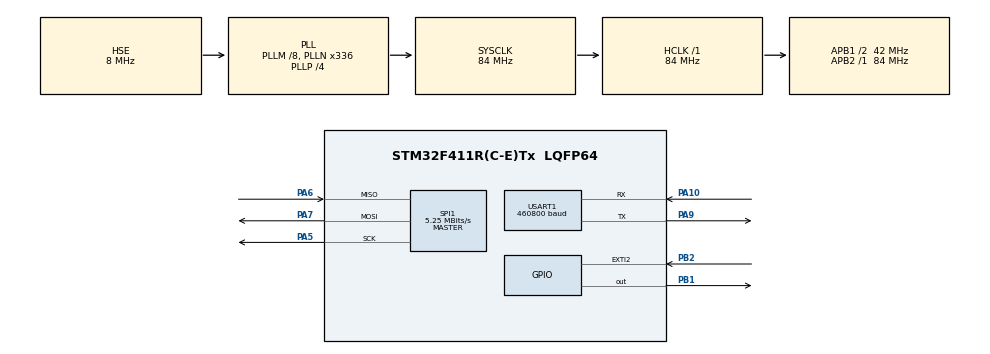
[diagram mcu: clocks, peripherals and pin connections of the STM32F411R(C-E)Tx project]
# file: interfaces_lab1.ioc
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Dma.Request0=USART1_RX
Dma.Request1=USART1_TX
Dma.USART1_RX.0.Direction=DMA_PERIPH_TO_MEMORY
Dma.USART1_RX.0.FIFOMode=DMA_FIFOMODE_DISABLE
Dma.USART1_RX.0.Instance=DMA2_Stream2
Dma.USART1_RX.0.MemDataAlignment=DMA_MDATAALIGN_BYTE
Dma.USART1_RX.0.MemInc=DMA_MINC_ENABLE
Dma.USART1_RX.0.Mode=DMA_NORMAL
Dma.USART1_RX.0.PeriphDataAlignment=DMA_PDATAALIGN_BYTE
Dma.USART1_RX.0.PeriphInc=DMA_PINC_DISABLE
Dma.USART1_RX.0.Priority=DMA_PRIORITY_LOW
Dma.USART1_TX.1.Direction=DMA_MEMORY_TO_PERIPH
Dma.USART1_TX.1.FIFOMode=DMA_FIFOMODE_DISABLE
Dma.USART1_TX.1.Instance=DMA2_Stream7
Dma.USART1_TX.1.MemDataAlignment=DMA_MDATAALIGN_BYTE
Dma.USART1_TX.1.MemInc=DMA_MINC_ENABLE
Dma.USART1_TX.1.Mode=DMA_NORMAL
Dma.USART1_TX.1.PeriphDataAlignment=DMA_PDATAALIGN_BYTE
Dma.USART1_TX.1.PeriphInc=DMA_PINC_DISABLE
Dma.USART1_TX.1.Priority=DMA_PRIORITY_LOW
Mcu.Family=STM32F4
Mcu.Name=STM32F411R(C-E)Tx
Mcu.Package=LQFP64
NVIC.DMA2_Stream2_IRQn=true\:0\:0\:false\:false\:true\:false\:true
NVIC.DMA2_Stream7_IRQn=true\:0\:0\:false\:false\:true\:false\:true
NVIC.EXTI2_IRQn=true\:0\:0\:false\:true\:true\:1\:true\:true
NVIC.PriorityGroup=NVIC_PRIORITYGROUP_0
NVIC.USART1_IRQn=true\:0\:0\:false\:false\:true\:true\:true
PA10.Mode=Asynchronous
PA10.Signal=USART1_RX
PA13.GPIO_Label=TMS
PA13.Mode=Serial_Wire
PA13.Signal=SYS_JTMS-SWDIO
PA14.GPIO_Label=TCK
PA14.Mode=Serial_Wire
PA14.Signal=SYS_JTCK-SWCLK
PA5.Mode=Full_Duplex_Master
PA5.Signal=SPI1_SCK
PA6.Mode=Full_Duplex_Master
PA6.Signal=SPI1_MISO
PA7.Mode=Full_Duplex_Master
PA7.Signal=SPI1_MOSI
PA9.Mode=Asynchronous
PA9.Signal=USART1_TX
PB1.Signal=GPIO_Output
PB2.Signal=GPXTI2
PB3.GPIO_Label=SWO
PB3.Signal=SYS_JTDO-SWO
PH0\ -\ OSC_IN.Mode=HSE-External-Oscillator
PH0\ -\ OSC_IN.Signal=RCC_OSC_IN
PH1\ -\ OSC_OUT.Mode=HSE-External-Oscillator
PH1\ -\ OSC_OUT.Signal=RCC_OSC_OUT
ProjectManager.HeapSize=0x200
ProjectManager.StackSize=0x400
ProjectManager.TargetToolchain=TrueSTUDIO
RCC.48MHZClocksFreq_Value=84000000
RCC.AHBFreq_Value=84000000
RCC.APB1CLKDivider=RCC_HCLK_DIV2
RCC.APB1Freq_Value=42000000
RCC.APB1TimFreq_Value=84000000
RCC.APB2Freq_Value=84000000
RCC.APB2TimFreq_Value=84000000
RCC.CortexFreq_Value=84000000
RCC.DATA_CACHE_ENABLE=0
RCC.FLatency-AdvancedSettings=FLASH_LATENCY_2
RCC.HCLKFreq_Value=84000000
RCC.HSE_VALUE=8000000
RCC.HSI_VALUE=16000000
RCC.LSE_VALUE=32768
RCC.PLLM=8
RCC.PLLN=336
RCC.PLLP=RCC_PLLP_DIV4
RCC.PLLSourceVirtual=RCC_PLLSOURCE_HSE
RCC.SYSCLKFreq_VALUE=84000000
RCC.SYSCLKSource=RCC_SYSCLKSOURCE_PLLCLK
RCC.VCOOutputFreq_Value=336000000
SPI1.BaudRatePrescaler=SPI_BAUDRATEPRESCALER_16
SPI1.CalculateBaudRate=5.25 MBits/s
SPI1.Direction=SPI_DIRECTION_2LINES
SPI1.Mode=SPI_MODE_MASTER
SPI1.VirtualType=VM_MASTER
USART1.BaudRate=460800
USART1.VirtualMode=VM_ASYNC
board=NUCLEO-F411RE

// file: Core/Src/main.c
/* USER CODE BEGIN Header */
/**
  ******************************************************************************
  * @file           : main.c
  * @brief          : Main program body
  ******************************************************************************
  * @attention
  *
  * <h2><center>&copy; Copyright (c) 2021 STMicroelectronics.
  * All rights reserved.</center></h2>
  *
  * This software component is licensed by ST under BSD 3-Clause license,
  * the "License"; You may not use this file except in compliance with the
  * License. You may obtain a copy of the License at:
  *                        opensource.org/licenses/BSD-3-Clause
  *
  ******************************************************************************
  */
/* USER CODE END Header */
#include "main.h"

/* USER CODE BEGIN Includes */
#include "MPU9250.h"
#include <string.h>
#include <math.h>
#include <stdio.h>
#include <stdlib.h>
/* USER CODE END Includes */

/* USER CODE BEGIN PD */
#define RECV_BUFF_SIZE 30
#define NELEMS(x) (sizeof(x) / sizeof((x)[0]))
/* USER CODE END PD */

SPI_HandleTypeDef hspi1;

UART_HandleTypeDef huart1;
DMA_HandleTypeDef hdma_usart1_rx;
DMA_HandleTypeDef hdma_usart1_tx;

/* USER CODE BEGIN PV */
uint8_t irq_mcu9250 = 0;
uint8_t UART_recv_buff[RECV_BUFF_SIZE]; //Array for storing UART receive data

/* Wildcards for checking command */
uint8_t get_accelrule[] = {'G','e','t',' ','A','c','c','e','l'};
uint8_t get_angelrule[] = {'G','e','t',' ','A','n','g','e','l'};
uint8_t get_timerule[] = {'S','e','t',' ','t','i','m','e'};
uint8_t return_err[] = {'I','n','v','a','l','i','d',' ','c','o','m','m','a','n','d','\r','\n'};
uint8_t args_buff[4] = {'\n','\n','\n','\n'}; //Max length of args: 4.
char response[256];
uint8_t flag = 0; //Comand flag
uint16_t checksum_accelrule = NELEMS(get_accelrule);
uint16_t checksum_angelrule = NELEMS(get_angelrule);
uint16_t checksum_timerule = NELEMS(get_timerule);
uint32_t command_delay = 500;
uint8_t Unprocessed_UART_buff_detected = RESET;

int32_t ACCEL_X = 0;
int32_t ACCEL_Y = 0;
int32_t ACCEL_Z = 0;

int32_t ACCEL_XANGLE = 0;
int32_t ACCEL_YANGLE = 0;
int32_t ACCEL_ZANGLE = 0;
/* USER CODE END PV */

void SystemClock_Config(void);
static void MX_GPIO_Init(void);
static void MX_DMA_Init(void);
static void MX_SPI1_Init(void);
static void MX_USART1_UART_Init(void);
static void MX_NVIC_Init(void);
/* USER CODE BEGIN PFP */
void TransmitSensorData();
void PhysVectorsToAccel();
void AccelToAngel();
void ClearBuff(uint8_t* buff);
void GetAccel();
void GetAngel();
void USER_UART_IDLECallback(UART_HandleTypeDef *huart);
/* USER CODE END PFP */

int main(void)
{

  /* MCU Configuration--------------------------------------------------------*/

  /* Reset of all peripherals, Initializes the Flash interface and the Systick. */
  HAL_Init();

  /* Configure the system clock */
  SystemClock_Config();

  /* Initialize all configured peripherals */
  MX_GPIO_Init();
  MX_DMA_Init();
  MX_SPI1_Init();
  MX_USART1_UART_Init();

  /* Initialize interrupts */
  MX_NVIC_Init();
  /* USER CODE BEGIN 2 */
  __HAL_UART_ENABLE_IT(&huart1, UART_IT_IDLE); //Enble IDLE IRQs
  HAL_UART_Receive_DMA(&huart1, UART_recv_buff, RECV_BUFF_SIZE); //Start DMA

  int st;
  st = MPU_begin();
  HAL_Delay(100);
  enableDataReadyInterrupt();
  HAL_Delay(100);
  setSrd(0);

  /* USER CODE END 2 */

  /* Infinite loop */
  while (1)
  {

    /* USER CODE BEGIN 3 */
	  if(irq_mcu9250 == 1) {
		  irq_mcu9250 = 0;

		  ClearBuff(UART_recv_buff);
		  __HAL_UART_ENABLE_IT(&huart1, UART_IT_IDLE);
		  HAL_UART_Receive_DMA(&huart1, UART_recv_buff, RECV_BUFF_SIZE-1);

		  if(flag == 1) {
			//Cycle print Accel
			HAL_Delay(command_delay);
			GetAccel();
		  } else if (flag == 2) {
			//Cycle print Angel
			HAL_Delay(command_delay);
			GetAngel();
		  }
	  }
  }
  /* USER CODE END 3 */
}

void SystemClock_Config(void)
{
  RCC_OscInitTypeDef RCC_OscInitStruct = {0};
  RCC_ClkInitTypeDef RCC_ClkInitStruct = {0};

  /** Configure the main internal regulator output voltage
  */
  __HAL_RCC_PWR_CLK_ENABLE();
  __HAL_PWR_VOLTAGESCALING_CONFIG(PWR_REGULATOR_VOLTAGE_SCALE1);
  /** Initializes the RCC Oscillators according to the specified parameters
  * in the RCC_OscInitTypeDef structure.
  */
  RCC_OscInitStruct.OscillatorType = RCC_OSCILLATORTYPE_HSE;
  RCC_OscInitStruct.HSEState = RCC_HSE_ON;
  RCC_OscInitStruct.PLL.PLLState = RCC_PLL_ON;
  RCC_OscInitStruct.PLL.PLLSource = RCC_PLLSOURCE_HSE;
  RCC_OscInitStruct.PLL.PLLM = 8;
  RCC_OscInitStruct.PLL.PLLN = 336;
  RCC_OscInitStruct.PLL.PLLP = RCC_PLLP_DIV4;
  RCC_OscInitStruct.PLL.PLLQ = 4;
  if (HAL_RCC_OscConfig(&RCC_OscInitStruct) != HAL_OK)
  {
    Error_Handler();
  }
  /** Initializes the CPU, AHB and APB buses clocks
  */
  RCC_ClkInitStruct.ClockType = RCC_CLOCKTYPE_HCLK|RCC_CLOCKTYPE_SYSCLK
                              |RCC_CLOCKTYPE_PCLK1|RCC_CLOCKTYPE_PCLK2;
  RCC_ClkInitStruct.SYSCLKSource = RCC_SYSCLKSOURCE_PLLCLK;
  RCC_ClkInitStruct.AHBCLKDivider = RCC_SYSCLK_DIV1;
  RCC_ClkInitStruct.APB1CLKDivider = RCC_HCLK_DIV2;
  RCC_ClkInitStruct.APB2CLKDivider = RCC_HCLK_DIV1;

  if (HAL_RCC_ClockConfig(&RCC_ClkInitStruct, FLASH_LATENCY_2) != HAL_OK)
  {
    Error_Handler();
  }
}

/**
  * @brief NVIC Configuration.
  * @retval None
  */
static void MX_NVIC_Init(void)
{
  /* EXTI2_IRQn interrupt configuration */
  HAL_NVIC_SetPriority(EXTI2_IRQn, 0, 0);
  HAL_NVIC_EnableIRQ(EXTI2_IRQn);
}

static void MX_SPI1_Init(void)
{

  /* SPI1 parameter configuration*/
  hspi1.Instance = SPI1;
  hspi1.Init.Mode = SPI_MODE_MASTER;
  hspi1.Init.Direction = SPI_DIRECTION_2LINES;
  hspi1.Init.DataSize = SPI_DATASIZE_8BIT;
  hspi1.Init.CLKPolarity = SPI_POLARITY_LOW;
  hspi1.Init.CLKPhase = SPI_PHASE_1EDGE;
  hspi1.Init.NSS = SPI_NSS_SOFT;
  hspi1.Init.BaudRatePrescaler = SPI_BAUDRATEPRESCALER_16;
  hspi1.Init.FirstBit = SPI_FIRSTBIT_MSB;
  hspi1.Init.TIMode = SPI_TIMODE_DISABLE;
  hspi1.Init.CRCCalculation = SPI_CRCCALCULATION_DISABLE;
  hspi1.Init.CRCPolynomial = 10;
  if (HAL_SPI_Init(&hspi1) != HAL_OK)
  {
    Error_Handler();
  }

}

static void MX_USART1_UART_Init(void)
{

  huart1.Instance = USART1;
  huart1.Init.BaudRate = 460800;
  huart1.Init.WordLength = UART_WORDLENGTH_8B;
  huart1.Init.StopBits = UART_STOPBITS_1;
  huart1.Init.Parity = UART_PARITY_NONE;
  huart1.Init.Mode = UART_MODE_TX_RX;
  huart1.Init.HwFlowCtl = UART_HWCONTROL_NONE;
  huart1.Init.OverSampling = UART_OVERSAMPLING_16;
  if (HAL_UART_Init(&huart1) != HAL_OK)
  {
    Error_Handler();
  }

}

static void MX_DMA_Init(void)
{

  /* DMA controller clock enable */
  __HAL_RCC_DMA2_CLK_ENABLE();

  /* DMA interrupt init */
  /* DMA2_Stream2_IRQn interrupt configuration */
  HAL_NVIC_SetPriority(DMA2_Stream2_IRQn, 0, 0);
  HAL_NVIC_EnableIRQ(DMA2_Stream2_IRQn);
  /* DMA2_Stream7_IRQn interrupt configuration */
  HAL_NVIC_SetPriority(DMA2_Stream7_IRQn, 0, 0);
  HAL_NVIC_EnableIRQ(DMA2_Stream7_IRQn);

}

static void MX_GPIO_Init(void)
{
  GPIO_InitTypeDef GPIO_InitStruct = {0};

  /* GPIO Ports Clock Enable */
  __HAL_RCC_GPIOH_CLK_ENABLE();
  __HAL_RCC_GPIOA_CLK_ENABLE();
  __HAL_RCC_GPIOB_CLK_ENABLE();

  /*Configure GPIO pin Output Level */
  HAL_GPIO_WritePin(GPIOB, GPIO_PIN_1, GPIO_PIN_RESET);

  /*Configure GPIO pin : PB1 */
  GPIO_InitStruct.Pin = GPIO_PIN_1;
  GPIO_InitStruct.Mode = GPIO_MODE_OUTPUT_PP;
  GPIO_InitStruct.Pull = GPIO_NOPULL;
  GPIO_InitStruct.Speed = GPIO_SPEED_FREQ_LOW;
  HAL_GPIO_Init(GPIOB, &GPIO_InitStruct);

  /*Configure GPIO pin : PB2 */
  GPIO_InitStruct.Pin = GPIO_PIN_2;
  GPIO_InitStruct.Mode = GPIO_MODE_IT_RISING;
  GPIO_InitStruct.Pull = GPIO_NOPULL;
  HAL_GPIO_Init(GPIOB, &GPIO_InitStruct);

}

/* USER CODE BEGIN 4 */
void PhysVectorsToAccel() {
	 ACCEL_X = _axcounts * 256 + _gxcounts;
	 ACCEL_Y = _aycounts * 256 + _gycounts;
	 ACCEL_Z = _azcounts * 256 + _gzcounts;
}

void AccelToAngel() {
	 ACCEL_XANGLE = 57.295* atan((float)-ACCEL_X/ sqrt(pow((float)ACCEL_Y, 2)+ pow((float)ACCEL_Z, 2)));
	 ACCEL_YANGLE = 57.295* atan((float)-ACCEL_Y/ sqrt(pow((float)ACCEL_X, 2)+ pow((float)ACCEL_Z, 2)));
	 ACCEL_ZANGLE = 57.295* atan((float)-ACCEL_Z/ sqrt(pow((float)ACCEL_X, 2)+ pow((float)ACCEL_Y, 2)));
}

void HAL_GPIO_EXTI_Callback(uint16_t GPIO_Pin)
{
	if (GPIO_Pin==GPIO_PIN_2) //PB1 EXTI1 (from MPU9250)
	{
		irq_mcu9250 = 1;
	}
}

//Print error about invalid command
void UARTPrintError() {
	HAL_UART_Transmit(&huart1,(unsigned char*)return_err, strlen(return_err), 1000);
}

//Determine state machine with 2^3-1 combinations and print results
//for GetAccel() and GetAngel()
void UARTPrint(uint32_t x_val, uint32_t y_val, uint32_t z_val) {
	char X = ' ';
	char Y = ' ';
	char Z = ' ';

	X = args_buff[0];
	Y = args_buff[1];
	Z = args_buff[2];

	//State machine with 2^3-1 combinations
	if(X == 'X' && Y == '\n' && Z == '\n') {
		//X
		if(flag == 1) {
			//Accel

			sprintf(response, "x:%08d rad/sec\r\n", x_val);
			//TODO Form new string every iteration. Not global!
			HAL_UART_Transmit_DMA(&huart1,(unsigned char*)response, strlen(response));
		} else if(flag == 2) {
			//Angel

			sprintf(response, "x:%04d gr\r\n", x_val);
			//TODO Form new string every iteration. Not global!
			HAL_UART_Transmit_DMA(&huart1,(unsigned char*)response, strlen(response));
		}

	} else if (X == '\n' && Y == 'Y' && Z == '\n') {
		//Y

		if(flag == 1) {
			//Accel

			sprintf(response, "y:%08d rad/sec\r\n", y_val);
			HAL_UART_Transmit_DMA(&huart1,(unsigned char*)response, strlen(response));
		} else if(flag == 2) {
			//Angel

			sprintf(response, "y:%04d gr\r\n", y_val);
			HAL_UART_Transmit_DMA(&huart1,(unsigned char*)response, strlen(response));
		}

	} else if (X == '\n' && Y == '\n' && Z == 'Z') {
		//Z

		if(flag == 1) {
			//Accel

			sprintf(response, "z:%08d rad/sec\r\n", z_val);
			HAL_UART_Transmit_DMA(&huart1,(unsigned char*)response, strlen(response));
		} else if(flag == 2) {
			//Angel

			sprintf(response, "z:%04d gr\r\n", z_val);
			HAL_UART_Transmit_DMA(&huart1,(unsigned char*)response, strlen(response));
		}

	} else if (X == 'X' && Y == 'Y' && Z == '\n') {
		//XY

		if(flag == 1) {
			//Accel

			sprintf(response, "x:%08d rad/sec;y:%08d rad/sec\r\n", x_val, y_val);
			HAL_UART_Transmit_DMA(&huart1,(unsigned char*)response, strlen(response));
		} else if(flag == 2) {
			//Angel

			sprintf(response, "x:%04d gr;y:%04d gr\r\n", x_val, y_val);
			HAL_UART_Transmit_DMA(&huart1,(unsigned char*)response, strlen(response));
		}

	} else if (X == '\n' && Y == 'Y' && Z == 'Z') {
		//YZ

		if(flag == 1) {
			//Accel

			sprintf(response, "y:%08d rad/sec;z:%08d rad/sec\r\n", y_val, z_val);
			HAL_UART_Transmit_DMA(&huart1,(unsigned char*)response, strlen(response));
		} else if(flag == 2) {
			//Angel

			sprintf(response, "y:%04d gr;z:%04d gr;\r\n", y_val, z_val);
			HAL_UART_Transmit_DMA(&huart1,(unsigned char*)response, strlen(response));
		}

	} else if (X == 'X' && Y == '\n' && Z == 'Z') {
		//XZ

		if(flag == 1) {
			//Accel

			sprintf(response, "x:%08d rad/sec;z:%08d rad/sec\r\n", x_val, z_val);
			HAL_UART_Transmit_DMA(&huart1,(unsigned char*)response, strlen(response));
		} else if(flag == 2) {
			//Angel

			sprintf(response, "x:%04d gr;z:%04d gr\r\n", x_val, z_val);
			HAL_UART_Transmit_DMA(&huart1,(unsigned char*)response, strlen(response));
		}

	} else if (X == 'X' && Y == 'Y' && Z == 'Z') {
		//XYZ

		if(flag == 1) {
			//Accel

			sprintf(response, "x:%08d rad/sec;y:%08d rad/sec;z:%08d rad/sec\r\n", x_val, y_val, z_val);
			HAL_UART_Transmit_DMA(&huart1,(unsigned char*)response, strlen(response));
		} else if(flag == 2) {
			//Angel

			sprintf(response, "x:%04d gr;y:%04d gr;z:%04d gr\r\n", x_val, y_val, z_val);
			HAL_UART_Transmit_DMA(&huart1,(unsigned char*)response, strlen(response));
		}
	}
}

void GetAccel() {
	readSensor(); //get data from registers
	PhysVectorsToAccel(); //set values in global vars
	UARTPrint(ACCEL_X, ACCEL_Y, ACCEL_Z); //pass next to determinate and print values
}

void GetAngel() {
	readSensor(); //get data from registers
	PhysVectorsToAccel(); //get accel vectors (globals)
	AccelToAngel(); //get angels from accels vectors (global)
	UARTPrint(ACCEL_XANGLE, ACCEL_YANGLE, ACCEL_ZANGLE); //pass next to determinate and print values
}

void SetInterval(uint16_t interval) {
	if(interval > 500 && interval <= 9999) {
		command_delay = interval;
	} else {
		//pass wrong value of interval
		//set default
		command_delay = 500;
	}
}

//Interpreting received UART commands
void ParseCommand(uint8_t* UART_receive) {
	/* Commands templates */
	//Get Accel ; Get Accel X ; Get Accel Y ; Get Accel Z ; Get Accel XY ; Get Accel YZ;
														 //Get Accel XZ ; GetAccel XYZ ;

	//Get Angel ; Get Angel X ; Get Angel Y ; Get Angel Z ; Get Angel XY ; Get Angel YZ;
														//Get Angel XZ ; Get Angel XYZ ;

	//Set time 500 ; Set time 1000 ; Set time 1500 ; Set time 2000 ;

	//Copy array to buffer
	uint8_t buffer[RECV_BUFF_SIZE];
	for(uint16_t i = 0; i < RECV_BUFF_SIZE; i++) {
		buffer[i] = UART_receive[i];
	}

	/* Search wildcards using checksum */
	uint8_t local_flag = 0;

	uint16_t checksum_1 = 0;
	for(uint16_t i = 0; i < RECV_BUFF_SIZE; i++) {
		if(checksum_1 == checksum_accelrule) {
			local_flag = 1; //Get Accel
			flag = 1;
			break; //Stop cycle after searching command-name wildcard
		}

		if(buffer[i] == get_accelrule[i]) {
			checksum_1++;
		} else {
			break; //break cycle if have mismatch
		}
	}

	uint16_t checksum_2 = 0;
	for(uint16_t i = 0; i < RECV_BUFF_SIZE; i++) {
		if(checksum_2 == checksum_angelrule) {
			local_flag = 2; //Get Angel
			flag = 2;
			break; //Stop cycle after searching command-name wildcard
		}

		if(buffer[i] == get_angelrule[i]) {
			checksum_2++;
		} else {
			break;
		}
	}

	uint16_t checksum_3 = 0;
	for(uint16_t i = 0; i < RECV_BUFF_SIZE; i++) {
		if(checksum_3 == checksum_timerule) {
			local_flag = 3; //Get time
			break; //Stop cycle after searching command-name wildcard
		}

		if(buffer[i] == get_timerule[i]) {
			checksum_3++;
		} else {
			break;
		}
	}

	//Determine range of args and push params in arr
	uint16_t lhs_range = 0;
	uint16_t rhs_range = 0;
	switch(local_flag) {
	case 1:
		//checksum + 1; //checksum + 5;
		lhs_range = checksum_1 + 1;
		rhs_range = checksum_1 + 5;
		break;
	case 2:
		lhs_range = checksum_2 + 1;
		rhs_range = checksum_2 + 5;
		break;
	case 3:
		lhs_range = checksum_3 + 1;
		rhs_range = checksum_3 + 5;
		break;
	}

	for(uint16_t i = lhs_range, j = 0; i < rhs_range; i++, j++) {
		args_buff[j] = buffer[i];
	}

	/* Parse arguments using checksum and wildcards */
	if(local_flag == 1) {

		GetAccel();

	} else if(local_flag == 2) {

		GetAngel();

	} else if (local_flag == 3) {
		uint16_t value = 0;
		value = atoi(args_buff);

		SetInterval(value);
	} else if (local_flag == 0) {
		UARTPrintError();
	}

}

void USER_UART_IRQHandler(UART_HandleTypeDef *huart) {
	if(huart->Instance == USART1) { //Determine serial port
		if(RESET != __HAL_UART_GET_FLAG(huart, UART_FLAG_IDLE)) { //Checking source IDLE IRQ
			__HAL_UART_CLEAR_IDLEFLAG(huart); //Clear IDLE IRQ sign
			USER_UART_IDLECallback(huart); //Call interrupt handler
		}
	}
}

void USER_UART_IDLECallback(UART_HandleTypeDef *huart) {
	HAL_UART_DMAStop(huart); //Stop DMA transmission
	Unprocessed_UART_buff_detected = SET;
	//Next DMA transmission will be allowed after buffer processing
	ParseCommand(UART_recv_buff);
}

//Clear USART receive buff (pushing '\0' in all positions)
void ClearBuff(uint8_t* buff) {
	for(uint8_t i = 0; i < RECV_BUFF_SIZE; i++) {
		buff[i] = '\n';
	}
}
/* USER CODE END 4 */

void Error_Handler(void)
{
  __disable_irq();
  while (1)
  {
  }
}

/************************ (C) COPYRIGHT STMicroelectronics *****END OF FILE****/
